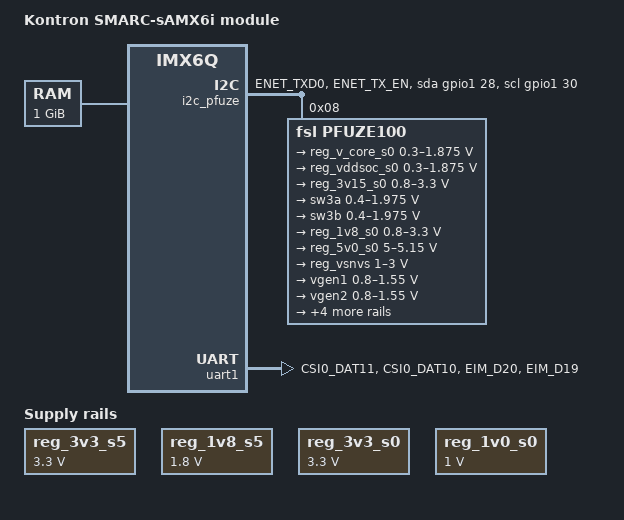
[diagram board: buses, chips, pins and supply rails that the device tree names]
/*
 * Copyright 2017 Priit Laes <plaes@plaes.org>
 *
 * Based on initial work by Nikita Yushchenko <nyushchenko at dev.rtsoft.ru>
 *
 * This file is dual-licensed: you can use it either under the terms
 * of the GPL or the X11 license, at your option. Note that this dual
 * licensing only applies to this file, and not this project as a
 * whole.
 *
 *  a) This file is free software; you can redistribute it and/or
 *     modify it under the terms of the GNU General Public License as
 *     published by the Free Software Foundation; either version 2 of
 *     the License, or (at your option) any later version.
 *
 *     This file is distributed in the hope that it will be useful,
 *     but WITHOUT ANY WARRANTY; without even the implied warranty of
 *     MERCHANTABILITY or FITNESS FOR A PARTICULAR PURPOSE.  See the
 *     GNU General Public License for more details.
 *
 * Or, alternatively,
 *
 *  b) Permission is hereby granted, free of charge, to any person
 *     obtaining a copy of this software and associated documentation
 *     files (the "Software"), to deal in the Software without
 *     restriction, including without limitation the rights to use,
 *     copy, modify, merge, publish, distribute, sublicense, and/or
 *     sell copies of the Software, and to permit persons to whom the
 *     Software is furnished to do so, subject to the following
 *     conditions:
 *
 *     The above copyright notice and this permission notice shall be
 *     included in all copies or substantial portions of the Software.
 *
 *     THE SOFTWARE IS PROVIDED "AS IS", WITHOUT WARRANTY OF ANY KIND,
 *     EXPRESS OR IMPLIED, INCLUDING BUT NOT LIMITED TO THE WARRANTIES
 *     OF MERCHANTABILITY, FITNESS FOR A PARTICULAR PURPOSE AND
 *     NONINFRINGEMENT. IN NO EVENT SHALL THE AUTHORS OR COPYRIGHT
 *     HOLDERS BE LIABLE FOR ANY CLAIM, DAMAGES OR OTHER LIABILITY,
 *     WHETHER IN AN ACTION OF CONTRACT, TORT OR OTHERWISE, ARISING
 *     FROM, OUT OF OR IN CONNECTION WITH THE SOFTWARE OR THE USE OR
 *     OTHER DEALINGS IN THE SOFTWARE.
 *
 */

#include "imx6q.dtsi"
#include <dt-bindings/gpio/gpio.h>

/ {
	/* TODO: Figure out proper name for this model... */
	model = "Kontron SMARC-sAMX6i module";
	compatible = "kontron,imx6-smx6", "fsl,imx6q";

	memory {
		reg = <0x10000000 0x40000000>;
	};

	regulators {
		compatible = "simple-bus";
		#address-cells = <1>;
		#size-cells = <0>;

		reg_3v3_s5: regulator@0 {
			compatible = "regulator-fixed";
			reg = <0>;
			regulator-name = "V_3V3_S5";
			regulator-min-microvolt = <3300000>;
			regulator-max-microvolt = <3300000>;
			regulator-boot-on;
			regulator-always-on;
		};

		reg_1v8_s5: regulator@1 {
			compatible = "regulator-fixed";
			reg = <1>;
			regulator-name = "V_1V8_S5";
			regulator-min-microvolt = <1800000>;
			regulator-max-microvolt = <1800000>;
			regulator-boot-on;
			regulator-always-on;
		};

		reg_3v3_s0: regulator@2 {
			compatible = "regulator-fixed";
			reg = <2>;
			regulator-name = "V_3V3_S0";
			regulator-min-microvolt = <3300000>;
			regulator-max-microvolt = <3300000>;
			regulator-boot-on;
			regulator-always-on;
		};

		reg_1v0_s0: regulator@3 {
			compatible = "regulator-fixed";
			reg = <3>;
			regulator-name = "V_1V0_S0";
			regulator-min-microvolt = <1000000>;
			regulator-max-microvolt = <1000000>;
			regulator-boot-on;
			regulator-always-on;
		};
	};

	i2c_pfuze: i2c-gpio-0 {
		compatible = "i2c-gpio";
		pinctrl-names = "default";
		pinctrl-0 = <&pinctrl_i2c_gpio_0>;
		gpios =
			<&gpio1 28 0>, // sda
			<&gpio1 30 0>; // scl
		#address-cells = <1>;
		#size-cells = <0>;
		i2c-gpio,delay-us = <2>;
	};
};

&can1 {
	pinctrl-names = "default";
	pinctrl-0 = <&pinctrl_flexcan1>;
	status = "disabled";
};

&can2 {
	pinctrl-names = "default";
	pinctrl-0 = <&pinctrl_flexcan2>;
	status = "disabled";
};

&fec {
	pinctrl-names = "default";
	pinctrl-0 = <&pinctrl_enet_smarc>;
	phy-mode = "rgmii";
	status = "disabled";
};

&i2c_pfuze {
	pfuze100@08 {
		compatible = "fsl,pfuze100";
		reg = <0x08>;

		regulators {
			reg_v_core_s0: sw1ab {
				regulator-name = "V_CORE_S0";
				regulator-min-microvolt = <300000>;
				regulator-max-microvolt = <1875000>;
				regulator-boot-on;
				regulator-always-on;
			};

			reg_vddsoc_s0: sw1c {
				regulator-name = "V_VDDSOC_S0";
				regulator-min-microvolt = <300000>;
				regulator-max-microvolt = <1875000>;
				regulator-boot-on;
				regulator-always-on;
			};

			reg_3v15_s0: sw2 {
				regulator-name = "V_3V15_S0";
				regulator-min-microvolt = <800000>;
				regulator-max-microvolt = <3300000>;
				regulator-boot-on;
				regulator-always-on;
			};

			/* sw3a/b is used in dual mode, but driver does not
			 * support it? Although, there's no need to control
			 * DDR power - so just leaving dummy entries for sw3a
			 * and sw3b for now.
			 */
			sw3a {
				regulator-min-microvolt = <400000>;
				regulator-max-microvolt = <1975000>;
				regulator-boot-on;
				regulator-always-on;
			};

			sw3b {
				regulator-min-microvolt = <400000>;
				regulator-max-microvolt = <1975000>;
				regulator-boot-on;
				regulator-always-on;
			};

			reg_1v8_s0: sw4 {
				regulator-name = "V_1V8_S0";
				regulator-min-microvolt = <800000>;
				regulator-max-microvolt = <3300000>;
				regulator-boot-on;
				regulator-always-on;
			};

			/* Regulator for USB */
			reg_5v0_s0: swbst {
				regulator-name = "V_5V0_S0";
				regulator-min-microvolt = <5000000>;
				regulator-max-microvolt = <5150000>;
				regulator-boot-on;
			};

			reg_vsnvs: vsnvs {
				regulator-min-microvolt = <1000000>;
				regulator-max-microvolt = <3000000>;
				regulator-boot-on;
				regulator-always-on;
			};

			reg_vrefddr: vrefddr {
				regulator-boot-on;
				regulator-always-on;
			};

			/* Per schematics, of all VGEN's, only VGEN5 has some
			 * usage ... but even that - over DNI resistor
			 */
			vgen1 {
				regulator-min-microvolt = <800000>;
				regulator-max-microvolt = <1550000>;
			};

			vgen2 {
				regulator-min-microvolt = <800000>;
				regulator-max-microvolt = <1550000>;
			};

			vgen3 {
				regulator-min-microvolt = <1800000>;
				regulator-max-microvolt = <3300000>;
			};

			vgen4 {
				regulator-min-microvolt = <1800000>;
				regulator-max-microvolt = <3300000>;
			};

			reg_2v5_s0: vgen5 {
				regulator-name = "V_2V5_S0";
				regulator-min-microvolt = <1800000>;
				regulator-max-microvolt = <3300000>;
			};

			vgen6 {
				regulator-min-microvolt = <1800000>;
				regulator-max-microvolt = <3300000>;
			};
		};
	};
};

&i2c3 {
	clock-frequency = <100000>;
	pinctrl-names = "default";
	pinctrl-0 = <&pinctrl_i2c3>;
	status = "disabled";
};

&pcie {
	pinctrl-names = "default";
	pinctrl-0 = <&pinctrl_pcie>;
	wake-up-gpio = <&gpio6 18 GPIO_ACTIVE_HIGH>;
	reset-gpio = <&gpio3 13 GPIO_ACTIVE_HIGH>;
	status = "disabled";
};

&uart1 {
	pinctrl-names = "default";
	pinctrl-0 = <&pinctrl_uart1_smarc>;
	fsl,uart-has-rtscts;
};

&uart2 {
	pinctrl-names = "default";
	pinctrl-0 = <&pinctrl_uart2_smarc>;
	status = "disabled";
};

&uart4 {
	pinctrl-names = "default";
	pinctrl-0 = <&pinctrl_uart4_smarc>;
	fsl,uart-has-rtscts;
	status = "disabled";
};

&uart5 {
	pinctrl-names = "default";
	pinctrl-0 = <&pinctrl_uart5_smarc>;
	status = "disabled";
};

&usbotg {
	/*
	 * no 'imx6-usb-charger-detection'
	 * since USB_OTG_CHD_B pin is not wired
	 */
	pinctrl-names = "default";
	pinctrl-0 = <&pinctrl_usbotg>;
	status = "disabled";
};

&usbh1 {
	vbus-supply = <&reg_5v0_s0>;
	status = "disabled";
};

&usdhc4 {
	/* Internal eMMC, optional on some boards */
	pinctrl-names = "default";
	pinctrl-0 = <&pinctrl_usdhc4>;
	bus-width = <8>;
	no-1-8-v;
	non-removable;
	status = "disabled";
};

&iomuxc {
	pinctrl_flexcan1: flexcan1-smarc {
		fsl,pins = <
			MX6QDL_PAD_GPIO_7__FLEXCAN1_TX 0x80000000
			MX6QDL_PAD_GPIO_8__FLEXCAN1_RX 0x80000000
		>;
	};

	pinctrl_flexcan2: flexcan2-smarc {
		fsl,pins = <
			MX6QDL_PAD_KEY_COL4__FLEXCAN2_TX 0x80000000
			MX6QDL_PAD_KEY_ROW4__FLEXCAN2_RX 0x80000000
		>;
	};

	pinctrl_enet_smarc: fecgrp-smarc {
		fsl,pins = <
			MX6QDL_PAD_ENET_MDIO__ENET_MDIO       0x1b0b0
			MX6QDL_PAD_ENET_MDC__ENET_MDC         0x1b0b0
			MX6QDL_PAD_RGMII_TXC__RGMII_TXC       0x1b0b0
			MX6QDL_PAD_RGMII_TD0__RGMII_TD0       0x1b0b0
			MX6QDL_PAD_RGMII_TD1__RGMII_TD1       0x1b0b0
			MX6QDL_PAD_RGMII_TD2__RGMII_TD2       0x1b0b0
			MX6QDL_PAD_RGMII_TD3__RGMII_TD3       0x1b0b0
			MX6QDL_PAD_RGMII_TX_CTL__RGMII_TX_CTL 0x1b0b0
			MX6QDL_PAD_ENET_REF_CLK__ENET_TX_CLK  0x1b0b0
			MX6QDL_PAD_RGMII_RXC__RGMII_RXC       0x1b0b0
			MX6QDL_PAD_RGMII_RD0__RGMII_RD0       0x1b0b0
			MX6QDL_PAD_RGMII_RD1__RGMII_RD1       0x1b0b0
			MX6QDL_PAD_RGMII_RD2__RGMII_RD2       0x1b0b0
			MX6QDL_PAD_RGMII_RD3__RGMII_RD3       0x1b0b0
			MX6QDL_PAD_RGMII_RX_CTL__RGMII_RX_CTL 0x1b0b0
		>;
	};

	pinctrl_i2c_gpio_0: i2c-gpio-0-smarc {
		fsl,pins = <
			/* SCL GPIO */
			MX6QDL_PAD_ENET_TXD0__GPIO1_IO30  0x80000000
			/* SDA GPIO */
			MX6QDL_PAD_ENET_TX_EN__GPIO1_IO28 0x80000000
		>;
	};

	pinctrl_i2c3: i2c3-smarc {
		fsl,pins = <
			MX6QDL_PAD_EIM_D17__I2C3_SCL		0x4001b8b1
			MX6QDL_PAD_EIM_D18__I2C3_SDA		0x4001b8b1
		>;
	};

	pinctrl_pcie: pcie-smarc {
		fsl,pins = <
			/* RST_PCIE_A# */
			MX6QDL_PAD_EIM_DA13__GPIO3_IO13 0x80000000
			/* PCIE_WAKE# */
			MX6QDL_PAD_SD3_DAT6__GPIO6_IO18 0x80000000
		>;
	};

	pinctrl_uart1_smarc: uart1grp-smarc {
		fsl,pins = <
			MX6QDL_PAD_CSI0_DAT11__UART1_RX_DATA 0x1b0b1
			MX6QDL_PAD_CSI0_DAT10__UART1_TX_DATA 0x1b0b1
			MX6QDL_PAD_EIM_D20__UART1_RTS_B 0x1b0b1
			MX6QDL_PAD_EIM_D19__UART1_CTS_B 0x1b0b1
		>;
	};

	pinctrl_uart2_smarc: uart2grp-smarc {
		fsl,pins = <
			MX6QDL_PAD_EIM_D27__UART2_RX_DATA 0x1b0b1
			MX6QDL_PAD_EIM_D26__UART2_TX_DATA 0x1b0b1
		>;
	};

	pinctrl_uart4_smarc: uart4grp-smarc {
		fsl,pins = <
			MX6QDL_PAD_CSI0_DAT13__UART4_RX_DATA 0x1b0b1
			MX6QDL_PAD_CSI0_DAT12__UART4_TX_DATA 0x1b0b1
			MX6QDL_PAD_CSI0_DAT16__UART4_RTS_B 0x1b0b1
			MX6QDL_PAD_CSI0_DAT17__UART4_CTS_B 0x1b0b1
		>;
	};

	pinctrl_uart5_smarc: uart5grp-smarc {
		fsl,pins = <
			MX6QDL_PAD_CSI0_DAT15__UART5_RX_DATA 0x1b0b1
			MX6QDL_PAD_CSI0_DAT14__UART5_TX_DATA 0x1b0b1
		>;
	};

	pinctrl_usbotg: usbotg-grp-smarc {
		fsl,pins = <
			MX6QDL_PAD_GPIO_1__USB_OTG_ID 0x1f8b0
			/* TODO: Comment out power and OC gpio's for now, since
			 * these are not used by driver
			 */
			/* USB power */
			// MX6QDL_PAD_CSI0_PIXCLK__GPIO5_IO18 0x80000000
			/* USB OC */
			// MX6QDL_PAD_CSI0_DATA_EN__GPIO5_IO20 0x80000000
		>;
	};

	pinctrl_usdhc4: usdhc4grp-smarc {
		fsl,pins = <
			MX6QDL_PAD_SD4_CLK__SD4_CLK 0x17059
			MX6QDL_PAD_SD4_CMD__SD4_CMD 0x17059
			MX6QDL_PAD_SD4_DAT0__SD4_DATA0 0x17059
			MX6QDL_PAD_SD4_DAT1__SD4_DATA1 0x17059
			MX6QDL_PAD_SD4_DAT2__SD4_DATA2 0x17059
			MX6QDL_PAD_SD4_DAT3__SD4_DATA3 0x17059
			MX6QDL_PAD_SD4_DAT4__SD4_DATA4 0x17059
			MX6QDL_PAD_SD4_DAT5__SD4_DATA5 0x17059
			MX6QDL_PAD_SD4_DAT6__SD4_DATA6 0x17059
			MX6QDL_PAD_SD4_DAT7__SD4_DATA7 0x17059
		>;
	};
};
